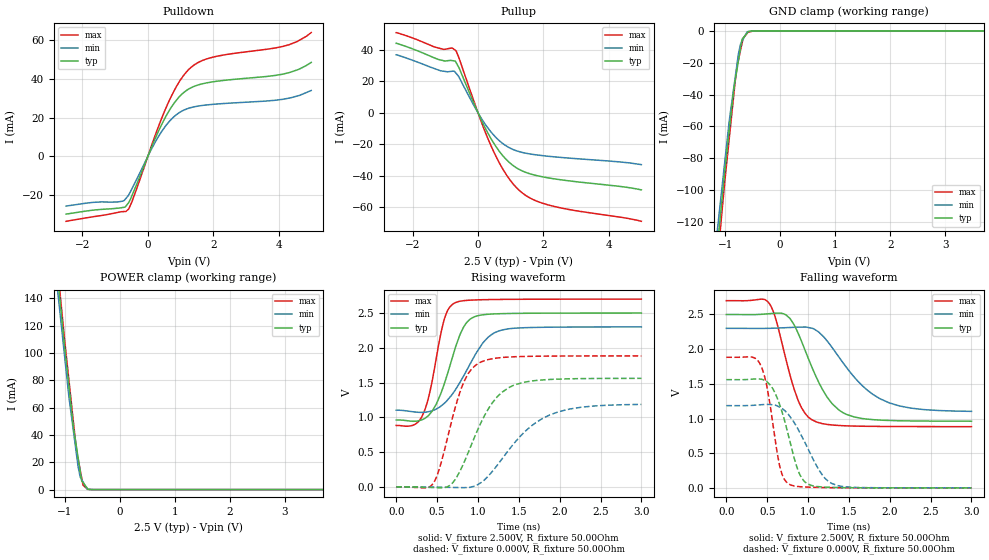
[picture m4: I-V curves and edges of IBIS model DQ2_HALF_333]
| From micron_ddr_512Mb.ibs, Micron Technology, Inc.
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|   MODEL DQ2_HALF_333
[Model]   DQ2_HALF_333
Model_type   I/O
Vinl = 0.940V
Vinh = 1.560V
Vmeas = 1.250V
Vref = 1.250V
Cref = 30.000pF
Rref = 50.000Ohm
|   typ   min   max
C_comp   3.30pF   3.15pF   3.45pF
[Model Spec]
| Input threshold voltage corners
Vinh   1.560V   1.460V   1.660V
Vinl   0.940V   0.840V   1.040V
| Measurement voltage corners
Vmeas   1.250V   1.150V   1.350V
| Timing spec test load voltage corners
Vref   1.250V   1.150V   1.350V
| Overshoot/Undershoot
S_overshoot_high   2.800V   2.600V   3.000V
S_overshoot_low   -0.300V   -0.300V   -0.300V
D_overshoot_high   4.000V   3.800V   4.200V
D_overshoot_low   -1.500V   -1.500V   -1.500V
D_overshoot_time   2.000n   2.000n   2.000n
[Receiver Thresholds]
Vth   =  1.250V
Vth_min  =  1.225V
Vth_max  =  1.275V
Vinh_ac  =  0.310V
Vinh_dc  =  0.150V
Vinl_ac  = -0.310V
Vinl_dc  = -0.150V
Tslew_ac =  10.000ns |Not specified, so set to high value
Threshold_sensitivity = 0.50
Reference_supply Pullup_ref
[Voltage Range]   2.500V   2.300V   2.700V
[Pullup Reference]   2.500V   2.300V   2.700V
| Junction Temperature (Ambient temp is 25C typ, 70C min, 0C max)
[Temperature Range]   40.0   85.0   0.0
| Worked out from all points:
|   slope of the pulldown table from 0 to 0.375 V, typ, clamps not added: 25.3 ohm
|   slope of the pullup table from 0 to 0.375 V, typ, clamps not added: 24 ohm
|   GND clamp passes 1 mA (typ) near -0.59 V on its own axis
|   POWER clamp passes 1 mA (typ) near -0.59 V on its own axis
|   falling waveform, V_fixture 2.500V, R_fixture 50.00Ohm: 20-80 % time 366ps typ, 529ps min, 256ps max; typ from 2.5 V to 0.961 V
|   rising waveform, V_fixture 2.500V, R_fixture 50.00Ohm: 20-80 % time 262ps typ, 363ps min, 185ps max; typ from 0.961 V to 2.5 V
|   rising waveform, V_fixture 0.000V, R_fixture 50.00Ohm: 20-80 % time 389ps typ, 556ps min, 271ps max; typ from 0 V to 1.56 V
|   falling waveform, V_fixture 0.000V, R_fixture 50.00Ohm: 20-80 % time 222ps typ, 319ps min, 154ps max; typ from 1.56 V to 0 V
[Pulldown]
|   Voltage   I(typ)   I(min)   I(max)
-2.5V     -29.74mA   -25.59mA   -33.46mA
-760mV    -26.31mA   -23.03mA   -28.46mA
-585mV    -23.82mA   -19.81mA   -27.1mA
-330mV    -13.96mA   -11.43mA   -16.13mA
155mV     6.477mA    5.185mA    7.57mA
555mV     20.77mA    15.98mA    25.02mA
985mV     31.19mA    22.87mA    39.19mA
1.385V    35.97mA    25.52mA    46.85mA
1.68V     37.56mA    26.37mA    49.62mA
2.115V    38.84mA    27.09mA    51.74mA
4.315V    43.25mA    30.11mA    57.67mA
5V        48.56mA    34.08mA    63.97mA
[GND Clamp]
|   Voltage   I(typ)   I(min)   I(max)
-2.5V     -661.2mA   -627.1mA   -696.6mA
-1.14V    -135.8mA   -125.1mA   -145.9mA
-1.055V   -105.6mA   -98.05mA   -113.1mA
-925mV    -62.76mA   -56.75mA   -67.86mA
-845mV    -37.45mA   -36.54mA   -41.3mA
-780mV    -23.5mA    -20.13mA   -21.86mA
-760mV    -19.31mA   -15.08mA   -18.6mA
-720mV    -10.93mA   -8.413mA   -12.33mA
-695mV    -5.696mA   -6.821mA   -8.406mA
-670mV    -4.418mA   -5.228mA   -4.485mA
-595mV    -1.2mA     -576.7uA   -1.42mA
5V        0A         0A         0A
[Pullup]
|   Voltage   I(typ)   I(min)   I(max)
-2.5V     43.97mA    36.69mA    50.74mA
-1.345V   34.82mA    28.03mA    41.74mA
-1.055V   32.94mA    26.26mA    40.13mA
-780mV    32.95mA    26.27mA    40.91mA
-670mV    31.83mA    24.98mA    39.22mA
65mV      -2.96mA    -2.28mA    -3.697mA
470mV     -18.9mA    -13.93mA   -24.2mA
890mV     -30.19mA   -21.43mA   -40.05mA
1.365V    -37.06mA   -25.29mA   -51.06mA
1.755V    -39.72mA   -26.71mA   -55.76mA
2.415V    -42.24mA   -28.19mA   -59.89mA
5V        -48.99mA   -32.98mA   -68.92mA
[POWER Clamp]
|   Voltage   I(typ)   I(min)   I(max)
-2.5V     748.6mA    726.1mA    769.2mA
-1.14V    159.4mA    149.1mA    166.2mA
-1.055V   125.1mA    116.9mA    130.4mA
-925mV    75.67mA    67.63mA    79.84mA
-845mV    46.16mA    43.13mA    49.77mA
-780mV    28.88mA    23.24mA    27.12mA
-760mV    23.67mA    17.11mA    22.7mA
-720mV    13.24mA    9.152mA    14.09mA
-695mV    6.728mA    7.382mA    8.709mA
-670mV    5.144mA    5.612mA    3.328mA
-585mV    631uA      398.4uA    198.9uA
5V        0A         0A         0A
[Ramp]
R_load = 50.00Ohm
|   typ   min   max
dV/dt_r   936.245mV/388.611ps 711.559mV/555.543ps   1.130V/270.975ps
dV/dt_f   922.938mV/366.144ps 718.259mV/529.097ps   1.090V/255.885ps
[Falling Waveform]
V_fixture = 2.500V
V_fixture_min = 2.300V
V_fixture_max = 2.700V
R_fixture = 50.00Ohm
|   Time   V(typ)   V(min)   V(max)
0s        2.5V       2.3V       2.7V
530ps     2.512V     2.301V     2.651V
610ps     2.519V     2.304V     2.414V
780ps     2.441V     2.313V     1.624V
900ps     2.171V     2.318V     1.205V
1.04ns    1.76V      2.304V     986.7mV
1.24ns    1.297V     2.109V     913.7mV
1.48ns    1.055V     1.721V     893.8mV
1.99ns    972.1mV    1.227V     884.9mV
3ns       961.3mV    1.103V     883mV
[Rising Waveform]
V_fixture = 2.500V
V_fixture_min = 2.300V
V_fixture_max = 2.700V
R_fixture = 50.00Ohm
|   Time   V(typ)   V(min)   V(max)
0s        961.3mV    1.103V     883mV
200ps     943.1mV    1.08V      884mV
310ps     962mV      1.071V     999.5mV
410ps     1.046V     1.084V     1.354V
580ps     1.453V     1.193V     2.376V
720ps     1.987V     1.388V     2.647V
900ps     2.407V     1.758V     2.684V
1.07ns    2.476V     2.083V     2.692V
1.25ns    2.489V     2.239V     2.695V
3ns       2.5V       2.3V       2.7V
[Rising Waveform]
V_fixture = 0.000V
V_fixture_min = 0.000V
V_fixture_max = 0.000V
R_fixture = 50.00Ohm
|   Time   V(typ)   V(min)   V(max)
0s        -133uV     -49.25uV   -161.6uV
460ps     -10.22mV   -3.757mV   63.09mV
530ps     -12.77mV   -5.198mV   266.4mV
650ps     15.97mV    -7.747mV   810.8mV
800ps     273.9mV    -11.24mV   1.427V
1.01ns    853.5mV    40.75mV    1.779V
1.3ns     1.365V     410.3mV    1.86V
1.8ns     1.539V     989.3mV    1.88V
2.26ns    1.556V     1.144V     1.882V
3ns       1.56V      1.186V     1.883V
[Falling Waveform]
V_fixture = 0.000V
V_fixture_min = 0.000V
V_fixture_max = 0.000V
R_fixture = 50.00Ohm
|   Time   V(typ)   V(min)   V(max)
0s        1.56V      1.186V     1.883V
410ps     1.569V     1.197V     1.792V
500ps     1.527V     1.203V     1.436V
660ps     1.174V     1.16V      280.8mV
780ps     661.4mV    1.026V     45.25mV
870ps     276.7mV    862.3mV    20.37mV
960ps     87.69mV    657.1mV    12.41mV
1.13ns    17.07mV    263mV      5.686mV
1.3ns     6.221mV    59.07mV    2.297mV
3ns       -133uV     -49.25uV   -161.6uV
